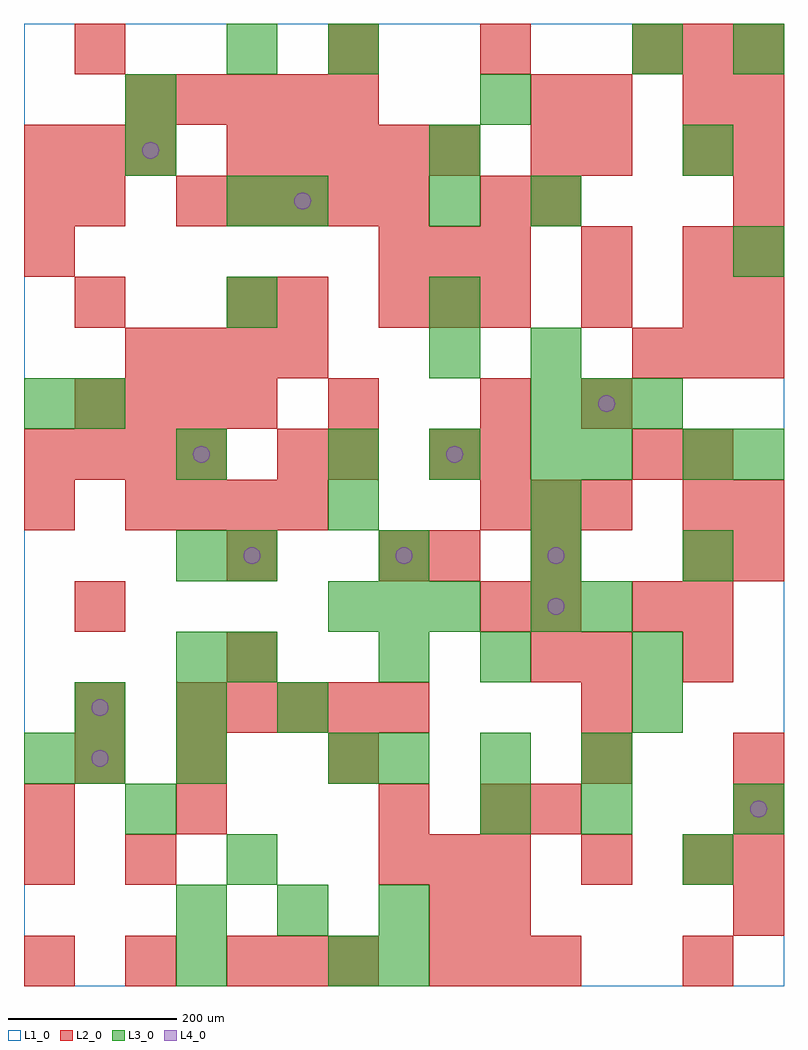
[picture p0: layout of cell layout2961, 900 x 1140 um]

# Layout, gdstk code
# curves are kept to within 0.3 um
import gdstk
lib = gdstk.Library(unit=1e-6, precision=1e-09)
def R(c, l, rs):  # rectangles x0, y0, x1, y1
    for r in rs: c.add(gdstk.rectangle(r[:2], r[2:], *l))
def A(c, l, x, y, w, h, nx, ny, dx, dy):  # array of equal rectangles
    R(c, l, [(x+i*dx, y+j*dy, x+i*dx+w, y+j*dy+h) for i in range(nx) for j in range(ny)])
def P(c, l, *ps):  # polygons
    for p in ps: c.add(gdstk.Polygon(p, *l))
L1_0 = (1, 0)
L2_0 = (2, 0)
L3_0 = (3, 0)
L4_0 = (4, 0)

layout2961 = lib.new_cell('layout2961')
R(layout2961, L1_0, [(0,0,900,1140)])
A(layout2961, L2_0, 0, 0, 60, 60, 3, 1, 120, 0)
A(layout2961, L2_0, 480, 0, 60, 60, 3, 1, 60, 0)
A(layout2961, L2_0, 840, 60, 60, 60, 1, 4, 0, 60)
A(layout2961, L2_0, 420, 120, 60, 60, 3, 2, 60, 660)
A(layout2961, L2_0, 660, 240, 60, 60, 1, 3, 0, 60)
A(layout2961, L2_0, 180, 300, 60, 60, 5, 2, 60, 600)
A(layout2961, L2_0, 600, 360, 60, 60, 1, 3, 0, 60)
A(layout2961, L2_0, 780, 360, 60, 60, 1, 5, 0, 60)
A(layout2961, L2_0, 120, 540, 60, 60, 4, 2, 60, 180)
A(layout2961, L2_0, 540, 540, 60, 60, 3, 1, 60, 0)
A(layout2961, L2_0, 0, 600, 60, 60, 4, 1, 60, 0)
A(layout2961, L2_0, 60, 660, 60, 60, 4, 1, 60, 0)
A(layout2961, L2_0, 720, 720, 60, 60, 3, 1, 60, 0)
A(layout2961, L2_0, 840, 780, 60, 60, 1, 6, 0, 60)
A(layout2961, L2_0, 420, 840, 60, 60, 3, 1, 60, 0)
A(layout2961, L2_0, 600, 900, 60, 60, 1, 3, 0, 60)
A(layout2961, L2_0, 0, 960, 60, 60, 3, 1, 60, 0)
A(layout2961, L2_0, 240, 960, 60, 60, 5, 1, 60, 0)
A(layout2961, L2_0, 780, 960, 60, 60, 1, 3, 0, 60)
A(layout2961, L2_0, 120, 1020, 60, 60, 5, 1, 60, 0)
A(layout2961, L2_0, 360, 1080, 60, 60, 3, 1, 180, 0)
R(layout2961, L2_0, [(300,0,360,60), (360,0,420,60), (780,0,840,60), (480,60,540,120), (540,60,600,120), (0,120,60,180), (120,120,180,180), (660,120,720,180), (780,120,840,180), (0,180,60,240), (180,180,240,240), (420,180,480,240), (540,180,600,240), (600,180,660,240), (60,240,120,300), (180,240,240,300), (360,240,420,300), (60,300,120,360), (240,360,300,420), (60,420,120,480), (540,420,600,480), (720,420,780,480), (240,480,300,540), (420,480,480,540), (480,480,540,540), (840,480,900,540), (0,540,60,600), (840,540,900,600), (300,600,360,660), (360,600,420,660), (480,600,540,660), (540,600,600,660), (720,600,780,660), (360,660,420,720), (540,660,600,720), (660,660,720,720), (60,780,120,840), (240,780,300,840), (300,780,360,840), (660,780,720,840), (780,780,840,840), (0,840,60,900), (660,840,720,900), (780,840,840,900), (0,900,60,960), (60,900,120,960), (540,900,600,960), (660,960,720,1020), (660,1020,720,1080), (60,1080,120,1140)])
A(layout2961, L3_0, 180, 60, 60, 60, 3, 1, 120, 0)
A(layout2961, L3_0, 180, 240, 60, 60, 1, 4, 0, 120)
A(layout2961, L3_0, 420, 240, 60, 60, 3, 1, 120, 0)
A(layout2961, L3_0, 60, 300, 60, 60, 3, 1, 120, 0)
A(layout2961, L3_0, 360, 420, 60, 60, 3, 1, 60, 0)
A(layout2961, L3_0, 240, 480, 60, 60, 4, 1, 180, 0)
A(layout2961, L3_0, 600, 540, 60, 60, 1, 3, 0, 180)
A(layout2961, L3_0, 360, 600, 60, 60, 3, 1, 120, 0)
A(layout2961, L3_0, 840, 600, 60, 60, 1, 3, 0, 240)
A(layout2961, L3_0, 600, 660, 60, 60, 3, 1, 60, 0)
R(layout2961, L3_0, [(180,0,240,60), (360,0,420,60), (420,0,480,60), (240,120,300,180), (780,120,840,180), (120,180,180,240), (540,180,600,240), (660,180,720,240), (840,180,900,240), (0,240,60,300), (60,240,120,300), (360,240,420,300), (720,300,780,360), (240,360,300,420), (420,360,480,420), (540,360,600,420), (720,360,780,420), (600,420,660,480), (660,420,720,480), (360,540,420,600), (660,600,720,660), (780,600,840,660), (0,660,60,720), (60,660,120,720), (480,720,540,780), (240,780,300,840), (480,780,540,840), (240,900,300,960), (300,900,360,960), (480,900,540,960), (120,960,180,1020), (480,960,540,1020), (780,960,840,1020), (120,1020,180,1080), (540,1020,600,1080), (240,1080,300,1140), (360,1080,420,1140), (720,1080,780,1140)])
P(layout2961, L4_0, [(100,270),(99.239,273.827),(97.071,277.071),(93.827,279.239),(90,280),(86.173,279.239),(82.929,277.071),(80.761,273.827),(80,270),(80.761,266.173),(82.929,262.929),(86.173,260.761),(90,260),(93.827,260.761),(97.071,262.929),(99.239,266.173)],
  [(100,330),(99.239,333.827),(97.071,337.071),(93.827,339.239),(90,340),(86.173,339.239),(82.929,337.071),(80.761,333.827),(80,330),(80.761,326.173),(82.929,322.929),(86.173,320.761),(90,320),(93.827,320.761),(97.071,322.929),(99.239,326.173)],
  [(160,990),(159.239,993.827),(157.071,997.071),(153.827,999.239),(150,1000),(146.173,999.239),(142.929,997.071),(140.761,993.827),(140,990),(140.761,986.173),(142.929,982.929),(146.173,980.761),(150,980),(153.827,980.761),(157.071,982.929),(159.239,986.173)],
  [(220,630),(219.239,633.827),(217.071,637.071),(213.827,639.239),(210,640),(206.173,639.239),(202.929,637.071),(200.761,633.827),(200,630),(200.761,626.173),(202.929,622.929),(206.173,620.761),(210,620),(213.827,620.761),(217.071,622.929),(219.239,626.173)],
  [(280,510),(279.239,513.827),(277.071,517.071),(273.827,519.239),(270,520),(266.173,519.239),(262.929,517.071),(260.761,513.827),(260,510),(260.761,506.173),(262.929,502.929),(266.173,500.761),(270,500),(273.827,500.761),(277.071,502.929),(279.239,506.173)],
  [(340,930),(339.239,933.827),(337.071,937.071),(333.827,939.239),(330,940),(326.173,939.239),(322.929,937.071),(320.761,933.827),(320,930),(320.761,926.173),(322.929,922.929),(326.173,920.761),(330,920),(333.827,920.761),(337.071,922.929),(339.239,926.173)],
  [(460,510),(459.239,513.827),(457.071,517.071),(453.827,519.239),(450,520),(446.173,519.239),(442.929,517.071),(440.761,513.827),(440,510),(440.761,506.173),(442.929,502.929),(446.173,500.761),(450,500),(453.827,500.761),(457.071,502.929),(459.239,506.173)],
  [(520,630),(519.239,633.827),(517.071,637.071),(513.827,639.239),(510,640),(506.173,639.239),(502.929,637.071),(500.761,633.827),(500,630),(500.761,626.173),(502.929,622.929),(506.173,620.761),(510,620),(513.827,620.761),(517.071,622.929),(519.239,626.173)],
  [(640,450),(639.239,453.827),(637.071,457.071),(633.827,459.239),(630,460),(626.173,459.239),(622.929,457.071),(620.761,453.827),(620,450),(620.761,446.173),(622.929,442.929),(626.173,440.761),(630,440),(633.827,440.761),(637.071,442.929),(639.239,446.173)],
  [(640,510),(639.239,513.827),(637.071,517.071),(633.827,519.239),(630,520),(626.173,519.239),(622.929,517.071),(620.761,513.827),(620,510),(620.761,506.173),(622.929,502.929),(626.173,500.761),(630,500),(633.827,500.761),(637.071,502.929),(639.239,506.173)],
  [(700,690),(699.239,693.827),(697.071,697.071),(693.827,699.239),(690,700),(686.173,699.239),(682.929,697.071),(680.761,693.827),(680,690),(680.761,686.173),(682.929,682.929),(686.173,680.761),(690,680),(693.827,680.761),(697.071,682.929),(699.239,686.173)],
  [(880,210),(879.239,213.827),(877.071,217.071),(873.827,219.239),(870,220),(866.173,219.239),(862.929,217.071),(860.761,213.827),(860,210),(860.761,206.173),(862.929,202.929),(866.173,200.761),(870,200),(873.827,200.761),(877.071,202.929),(879.239,206.173)])

lib.write_gds('layout2961.gds')
